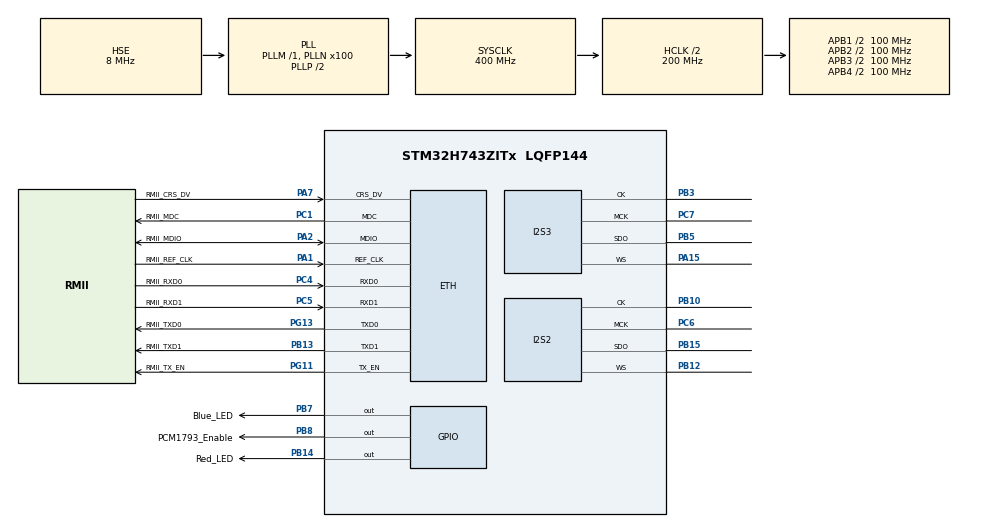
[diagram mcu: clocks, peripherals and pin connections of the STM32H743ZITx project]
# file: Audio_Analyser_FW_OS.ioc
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CORTEX_M7.AccessPermission-Cortex_Memory_Protection_Unit_Region0_Settings=MPU_REGION_FULL_ACCESS
CORTEX_M7.AccessPermission-Cortex_Memory_Protection_Unit_Region1_Settings=MPU_REGION_FULL_ACCESS
CORTEX_M7.BaseAddress-Cortex_Memory_Protection_Unit_Region0_Settings=0x30040000
CORTEX_M7.BaseAddress-Cortex_Memory_Protection_Unit_Region1_Settings=0x30040000
CORTEX_M7.CPU_DCache=Enabled
CORTEX_M7.CPU_ICache=Enabled
CORTEX_M7.DisableExec-Cortex_Memory_Protection_Unit_Region0_Settings=MPU_INSTRUCTION_ACCESS_DISABLE
CORTEX_M7.DisableExec-Cortex_Memory_Protection_Unit_Region1_Settings=MPU_INSTRUCTION_ACCESS_DISABLE
CORTEX_M7.Enable-Cortex_Memory_Protection_Unit_Region0_Settings=MPU_REGION_ENABLE
CORTEX_M7.Enable-Cortex_Memory_Protection_Unit_Region1_Settings=MPU_REGION_ENABLE
CORTEX_M7.IsBufferable-Cortex_Memory_Protection_Unit_Region0_Settings=MPU_ACCESS_NOT_BUFFERABLE
CORTEX_M7.IsBufferable-Cortex_Memory_Protection_Unit_Region1_Settings=MPU_ACCESS_BUFFERABLE
CORTEX_M7.IsCacheable-Cortex_Memory_Protection_Unit_Region1_Settings=MPU_ACCESS_NOT_CACHEABLE
CORTEX_M7.IsShareable-Cortex_Memory_Protection_Unit_Region1_Settings=MPU_ACCESS_SHAREABLE
CORTEX_M7.MPU_Control=MPU_PRIVILEGED_DEFAULT
CORTEX_M7.Size-Cortex_Memory_Protection_Unit_Region0_Settings=MPU_REGION_SIZE_32KB
CORTEX_M7.Size-Cortex_Memory_Protection_Unit_Region1_Settings=MPU_REGION_SIZE_256B
CORTEX_M7.TypeExtField-Cortex_Memory_Protection_Unit_Region0_Settings=MPU_TEX_LEVEL1
ETH.MediaInterface=HAL_ETH_RMII_MODE
FREERTOS.Tasks01=defaultTask,24,256,StartDefaultTask,Default,NULL,Dynamic,NULL,NULL
I2S2.AudioFreq=I2S_AUDIOFREQ_96K
I2S2.DataFormat=I2S_DATAFORMAT_24B
I2S2.ErrorAudioFreq=0.0 %
I2S2.FullDuplexMode=I2S_MODE_SLAVE_FD
I2S2.Instance=SPI$Index
I2S2.Mode=I2S_MODE_MASTER_RX
I2S2.RealAudioFreq=96.0 KHz
I2S2.VirtualMode=I2S_MODE_MASTER
I2S3.AudioFreq=I2S_AUDIOFREQ_96K
I2S3.Data24BitAlignment=I2S_DATA_24BIT_ALIGNMENT_RIGHT
I2S3.DataFormat=I2S_DATAFORMAT_32B
I2S3.ErrorAudioFreq=0.0 %
I2S3.FifoThreshold=I2S_FIFO_THRESHOLD_08DATA
I2S3.FullDuplexMode=I2S_MODE_SLAVE_FD
I2S3.Instance=SPI$Index
I2S3.RealAudioFreq=96.0 KHz
I2S3.VirtualMode=I2S_MODE_MASTER
LWIP.BSP.number=1
LWIP.CHECKSUM_BY_HARDWARE=1
LWIP.GATEWAY_ADDRESS=192.168.001.001
LWIP.IP_ADDRESS=192.168.001.144
LWIP.LWIP_DHCP=0
LWIP.MEMP_NUM_PBUF=64
LWIP.MEM_SIZE=16360
LWIP.NETMASK_ADDRESS=255.255.255.000
LWIP.PBUF_POOL_BUFSIZE=1460
LWIP.PBUF_POOL_SIZE=64
LWIP.TCP_MSS=1460
LWIP.Version=v2.1.2_Cube
LWIP0.BSP.STBoard=false
LWIP0.BSP.api=BSP_COMPONENT_DRIVER
LWIP0.BSP.component=LAN8742
LWIP0.BSP.i2caddr=0
LWIP0.BSP.instance=LAN8742
LWIP0.BSP.name=Driver_PHY
LWIP0.BSP.solution=LAN8742
Mcu.Family=STM32H7
Mcu.Name=STM32H743ZITx
Mcu.Package=LQFP144
NVIC.ETH_IRQn=true\:7\:0\:true\:false\:true\:true\:true\:true
NVIC.PriorityGroup=NVIC_PRIORITYGROUP_4
NVIC.SPI2_IRQn=true\:6\:0\:true\:false\:true\:true\:true\:true
NVIC.SPI3_IRQn=true\:6\:0\:true\:false\:true\:true\:true\:true
NVIC.TIM6_DAC_IRQn=true\:0\:0\:false\:false\:true\:false\:false\:true
NVIC.TimeBase=TIM6_DAC_IRQn
NVIC.TimeBaseIP=TIM6
PA1.GPIO_Label=RMII_REF_CLK
PA1.GPIO_Speed=GPIO_SPEED_FREQ_VERY_HIGH
PA1.Mode=RMII
PA1.Signal=ETH_REF_CLK
PA15\ (JTDI).GPIO_Speed=GPIO_SPEED_FREQ_HIGH
PA15\ (JTDI).Mode=Half_Duplex_Master
PA15\ (JTDI).Signal=I2S3_WS
PA2.GPIO_Label=RMII_MDIO
PA2.GPIO_Speed=GPIO_SPEED_FREQ_VERY_HIGH
PA2.Mode=RMII
PA2.Signal=ETH_MDIO
PA7.GPIO_Label=RMII_CRS_DV
PA7.GPIO_Speed=GPIO_SPEED_FREQ_VERY_HIGH
PA7.Mode=RMII
PA7.Signal=ETH_CRS_DV
PB10.GPIO_Speed=GPIO_SPEED_FREQ_HIGH
PB10.Mode=Half_Duplex_Master
PB10.Signal=I2S2_CK
PB12.GPIO_Speed=GPIO_SPEED_FREQ_HIGH
PB12.Mode=Half_Duplex_Master
PB12.Signal=I2S2_WS
PB13.GPIO_Label=RMII_TXD1
PB13.GPIO_Speed=GPIO_SPEED_FREQ_VERY_HIGH
PB13.Mode=RMII
PB13.Signal=ETH_TXD1
PB14.GPIO_Label=Red_LED
PB14.Signal=GPIO_Output
PB15.GPIO_Speed=GPIO_SPEED_FREQ_HIGH
PB15.Mode=Half_Duplex_Master
PB15.Signal=I2S2_SDO
PB3\ (JTDO/TRACESWO).GPIO_Speed=GPIO_SPEED_FREQ_HIGH
PB3\ (JTDO/TRACESWO).Mode=Half_Duplex_Master
PB3\ (JTDO/TRACESWO).Signal=I2S3_CK
PB5.GPIO_Speed=GPIO_SPEED_FREQ_HIGH
PB5.Mode=Half_Duplex_Master
PB5.Signal=I2S3_SDO
PB7.GPIO_Label=Blue_LED
PB7.PinState=GPIO_PIN_SET
PB7.Signal=GPIO_Output
PB8.GPIO_Label=PCM1793_Enable
PB8.GPIO_PuPd=GPIO_PULLDOWN
PB8.Signal=GPIO_Output
PC1.GPIO_Label=RMII_MDC
PC1.GPIO_Speed=GPIO_SPEED_FREQ_VERY_HIGH
PC1.Mode=RMII
PC1.Signal=ETH_MDC
PC4.GPIO_Label=RMII_RXD0
PC4.GPIO_Speed=GPIO_SPEED_FREQ_VERY_HIGH
PC4.Mode=RMII
PC4.Signal=ETH_RXD0
PC5.GPIO_Label=RMII_RXD1
PC5.GPIO_Speed=GPIO_SPEED_FREQ_VERY_HIGH
PC5.Mode=RMII
PC5.Signal=ETH_RXD1
PC6.GPIO_Speed=GPIO_SPEED_FREQ_HIGH
PC6.Mode=Master_Clock_Activated
PC6.Signal=I2S2_MCK
PC7.GPIO_Speed=GPIO_SPEED_FREQ_HIGH
PC7.Mode=Master_Clock_Activated
PC7.Signal=I2S3_MCK
PD8.Signal=USART3_TX
PD9.Signal=USART3_RX
PG11.GPIO_Label=RMII_TX_EN
PG11.GPIO_Speed=GPIO_SPEED_FREQ_VERY_HIGH
PG11.Mode=RMII
PG11.Signal=ETH_TX_EN
PG13.GPIO_Label=RMII_TXD0
PG13.GPIO_Speed=GPIO_SPEED_FREQ_VERY_HIGH
PG13.Mode=RMII
PG13.Signal=ETH_TXD0
PH0-OSC_IN\ (PH0).GPIO_Label=MCO
PH0-OSC_IN\ (PH0).Mode=HSE-External-Oscillator
PH0-OSC_IN\ (PH0).Signal=RCC_OSC_IN
PH1-OSC_OUT\ (PH1).Mode=HSE-External-Oscillator
PH1-OSC_OUT\ (PH1).Signal=RCC_OSC_OUT
ProjectManager.HeapSize=0x200
ProjectManager.StackSize=0x400
ProjectManager.TargetToolchain=SW4STM32
RCC.48MHZClocksFreq_Value=24000000
RCC.ADCFreq_Value=122880000
RCC.AHBFreq_Value=216000000
RCC.APB1CLKDivider=RCC_HCLK_DIV4
RCC.APB1Freq_Value=100000000
RCC.APB1TimFreq_Value=108000000
RCC.APB2CLKDivider=RCC_HCLK_DIV2
RCC.APB2Freq_Value=100000000
RCC.APB2TimFreq_Value=216000000
RCC.APB3Freq_Value=100000000
RCC.APB4Freq_Value=100000000
RCC.CortexFreq_Value=400000000
RCC.D1PPRE=RCC_APB3_DIV2
RCC.D2PPRE1=RCC_APB1_DIV2
RCC.D2PPRE2=RCC_APB2_DIV2
RCC.D3PPRE=RCC_APB4_DIV2
RCC.DIVM1=1
RCC.DIVM2=5
RCC.DIVN1=100
RCC.DIVN2=384
RCC.DIVP2=5
RCC.DIVQ1=4
RCC.DIVQ2=5
RCC.HCLKFreq_Value=200000000
RCC.HPRE=RCC_HCLK_DIV2
RCC.HSE_VALUE=8000000
RCC.HSI_VALUE=64000000
RCC.PLLM=25
RCC.PLLMUL=RCC_PLL_MUL9
RCC.PLLN=432
RCC.PLLQ=9
RCC.PLLSourceVirtual=RCC_PLLSOURCE_HSE
RCC.PRESCALERUSB=RCC_USBCLKSOURCE_PLL_DIV1_5
RCC.PWR_Regulator_Voltage_Scale=PWR_REGULATOR_VOLTAGE_SCALE1
RCC.SPI123CLockSelection=RCC_SPI123CLKSOURCE_PLL2
RCC.SYSCLKFreq_VALUE=400000000
RCC.SYSCLKSource=RCC_SYSCLKSOURCE_PLLCLK
RCC.SYSCLKSourceVirtual=RCC_SYSCLKSOURCE_PLLCLK
RCC.USBFreq_Value=200000000
RCC.VCOOutputFreq_Value=432000000
VP_FREERTOS_VS_CMSIS_V2.Mode=CMSIS_V2
VP_LWIP_VS_Enabled.Mode=Enabled
VP_SYS_VS_tim6.Mode=TIM6
board=NUCLEO-H743ZI

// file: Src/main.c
/* USER CODE BEGIN Header */
/**
  ******************************************************************************
  * @file           : main.c
  * @brief          : Main program body
  ******************************************************************************
  * @attention
  *
  * <h2><center>&copy; Copyright (c) 2021 STMicroelectronics.
  * All rights reserved.</center></h2>
  *
  * This software component is licensed by ST under Ultimate Liberty license
  * SLA0044, the "License"; You may not use this file except in compliance with
  * the License. You may obtain a copy of the License at:
  *                             www.st.com/SLA0044
  *
  ******************************************************************************
  */
/* USER CODE END Header */
#include <counters.h>
#include "main.h"
#include "cmsis_os.h"
#include "i2s.h"
#include "lwip.h"
#include "gpio.h"

/* USER CODE BEGIN Includes */
//#include "dioa.h"
//#include "log.h"
//#include "uart.h"
//#include "rmi.h"
//#include "pcm1793_dac.h"
//#include "pcm1802_adc.h"
//#include "controller.h"

/* USER CODE END Includes */

void SystemClock_Config(void);
void PeriphCommonClock_Config(void);
static void MPU_Config(void);
void MX_FREERTOS_Init(void);

int main(void)
{

  /* MPU Configuration--------------------------------------------------------*/
  MPU_Config();

  /* Enable I-Cache---------------------------------------------------------*/
  SCB_EnableICache();

  /* Enable D-Cache---------------------------------------------------------*/
  SCB_EnableDCache();

  /* MCU Configuration--------------------------------------------------------*/

  /* Reset of all peripherals, Initializes the Flash interface and the Systick. */
  HAL_Init();

  /* Configure the system clock */
  SystemClock_Config();

/* Configure the peripherals common clocks */
  PeriphCommonClock_Config();

  /* Initialize all configured peripherals */
  MX_GPIO_Init();
  MX_I2S2_Init();
  MX_I2S3_Init();
  /* USER CODE BEGIN 2 */
//  log_init();
//  dioa_init();
//  UART_init();
//  rmi_init();
//  init_counters();
//  pcm1793_dac_init();
//  pcm1802_adc_init();
//  controller_init();
  /* USER CODE END 2 */

  /* Init scheduler */
  osKernelInitialize();  /* Call init function for freertos objects (in freertos.c) */
  MX_FREERTOS_Init();
  /* Start scheduler */
  osKernelStart();

  /* We should never get here as control is now taken by the scheduler */
  /* Infinite loop */
  while (1)
  {

  }
}

void SystemClock_Config(void)
{
  RCC_OscInitTypeDef RCC_OscInitStruct = {0};
  RCC_ClkInitTypeDef RCC_ClkInitStruct = {0};

  /** Supply configuration update enable
  */
  HAL_PWREx_ConfigSupply(PWR_LDO_SUPPLY);
  /** Configure the main internal regulator output voltage
  */
  __HAL_PWR_VOLTAGESCALING_CONFIG(PWR_REGULATOR_VOLTAGE_SCALE1);

  while(!__HAL_PWR_GET_FLAG(PWR_FLAG_VOSRDY)) {}
  /** Macro to configure the PLL clock source
  */
  __HAL_RCC_PLL_PLLSOURCE_CONFIG(RCC_PLLSOURCE_HSE);
  /** Initializes the RCC Oscillators according to the specified parameters
  * in the RCC_OscInitTypeDef structure.
  */
  RCC_OscInitStruct.OscillatorType = RCC_OSCILLATORTYPE_HSE;
  RCC_OscInitStruct.HSEState = RCC_HSE_ON;
  RCC_OscInitStruct.PLL.PLLState = RCC_PLL_ON;
  RCC_OscInitStruct.PLL.PLLSource = RCC_PLLSOURCE_HSE;
  RCC_OscInitStruct.PLL.PLLM = 1;
  RCC_OscInitStruct.PLL.PLLN = 100;
  RCC_OscInitStruct.PLL.PLLP = 2;
  RCC_OscInitStruct.PLL.PLLQ = 4;
  RCC_OscInitStruct.PLL.PLLR = 2;
  RCC_OscInitStruct.PLL.PLLRGE = RCC_PLL1VCIRANGE_3;
  RCC_OscInitStruct.PLL.PLLVCOSEL = RCC_PLL1VCOWIDE;
  RCC_OscInitStruct.PLL.PLLFRACN = 0;
  if (HAL_RCC_OscConfig(&RCC_OscInitStruct) != HAL_OK)
  {
    Error_Handler();
  }
  /** Initializes the CPU, AHB and APB buses clocks
  */
  RCC_ClkInitStruct.ClockType = RCC_CLOCKTYPE_HCLK|RCC_CLOCKTYPE_SYSCLK
                              |RCC_CLOCKTYPE_PCLK1|RCC_CLOCKTYPE_PCLK2
                              |RCC_CLOCKTYPE_D3PCLK1|RCC_CLOCKTYPE_D1PCLK1;
  RCC_ClkInitStruct.SYSCLKSource = RCC_SYSCLKSOURCE_PLLCLK;
  RCC_ClkInitStruct.SYSCLKDivider = RCC_SYSCLK_DIV1;
  RCC_ClkInitStruct.AHBCLKDivider = RCC_HCLK_DIV2;
  RCC_ClkInitStruct.APB3CLKDivider = RCC_APB3_DIV2;
  RCC_ClkInitStruct.APB1CLKDivider = RCC_APB1_DIV2;
  RCC_ClkInitStruct.APB2CLKDivider = RCC_APB2_DIV2;
  RCC_ClkInitStruct.APB4CLKDivider = RCC_APB4_DIV2;

  if (HAL_RCC_ClockConfig(&RCC_ClkInitStruct, FLASH_LATENCY_2) != HAL_OK)
  {
    Error_Handler();
  }
}

void PeriphCommonClock_Config(void)
{
  RCC_PeriphCLKInitTypeDef PeriphClkInitStruct = {0};

  /** Initializes the peripherals clock
  */
  PeriphClkInitStruct.PeriphClockSelection = RCC_PERIPHCLK_SPI3|RCC_PERIPHCLK_SPI2;
  PeriphClkInitStruct.PLL2.PLL2M = 5;
  PeriphClkInitStruct.PLL2.PLL2N = 384;
  PeriphClkInitStruct.PLL2.PLL2P = 5;
  PeriphClkInitStruct.PLL2.PLL2Q = 5;
  PeriphClkInitStruct.PLL2.PLL2R = 2;
  PeriphClkInitStruct.PLL2.PLL2RGE = RCC_PLL2VCIRANGE_0;
  PeriphClkInitStruct.PLL2.PLL2VCOSEL = RCC_PLL2VCOWIDE;
  PeriphClkInitStruct.PLL2.PLL2FRACN = 0;
  PeriphClkInitStruct.Spi123ClockSelection = RCC_SPI123CLKSOURCE_PLL2;
  if (HAL_RCCEx_PeriphCLKConfig(&PeriphClkInitStruct) != HAL_OK)
  {
    Error_Handler();
  }
}

/* MPU Configuration */

void MPU_Config(void)
{
  MPU_Region_InitTypeDef MPU_InitStruct = {0};

  /* Disables the MPU */
  HAL_MPU_Disable();
  /** Initializes and configures the Region and the memory to be protected
  */
  MPU_InitStruct.Enable = MPU_REGION_ENABLE;
  MPU_InitStruct.Number = MPU_REGION_NUMBER0;
  MPU_InitStruct.BaseAddress = 0x30040000;
  MPU_InitStruct.Size = MPU_REGION_SIZE_8KB;
  MPU_InitStruct.SubRegionDisable = 0x0;
  MPU_InitStruct.TypeExtField = MPU_TEX_LEVEL1;
  MPU_InitStruct.AccessPermission = MPU_REGION_FULL_ACCESS;
  MPU_InitStruct.DisableExec = MPU_INSTRUCTION_ACCESS_DISABLE;
  MPU_InitStruct.IsShareable = MPU_ACCESS_NOT_SHAREABLE;
  MPU_InitStruct.IsCacheable = MPU_ACCESS_NOT_CACHEABLE;
  MPU_InitStruct.IsBufferable = MPU_ACCESS_NOT_BUFFERABLE;

  HAL_MPU_ConfigRegion(&MPU_InitStruct);
  /** Initializes and configures the Region and the memory to be protected
  */
  MPU_InitStruct.Number = MPU_REGION_NUMBER1;
  MPU_InitStruct.Size = MPU_REGION_SIZE_256B;
  MPU_InitStruct.TypeExtField = MPU_TEX_LEVEL0;
  MPU_InitStruct.IsShareable = MPU_ACCESS_SHAREABLE;
  MPU_InitStruct.IsBufferable = MPU_ACCESS_BUFFERABLE;

  HAL_MPU_ConfigRegion(&MPU_InitStruct);

    /**Initializes and configures the Region and the memory to be protected
      */
      MPU_InitStruct.Enable = MPU_REGION_ENABLE;
      MPU_InitStruct.Number = MPU_REGION_NUMBER2;
      MPU_InitStruct.BaseAddress = 0x30000000;
      MPU_InitStruct.Size = MPU_REGION_SIZE_2KB;
      MPU_InitStruct.SubRegionDisable = 0x0;
      MPU_InitStruct.TypeExtField = MPU_TEX_LEVEL0;
      MPU_InitStruct.AccessPermission = MPU_REGION_FULL_ACCESS;
      MPU_InitStruct.DisableExec = MPU_INSTRUCTION_ACCESS_DISABLE;
      MPU_InitStruct.IsShareable = MPU_ACCESS_SHAREABLE;
      MPU_InitStruct.IsCacheable = MPU_ACCESS_NOT_CACHEABLE;
      MPU_InitStruct.IsBufferable = MPU_ACCESS_BUFFERABLE;

      HAL_MPU_ConfigRegion(&MPU_InitStruct);

      /**Initializes and configures the Region and the memory to be protected
        */
        MPU_InitStruct.Enable = MPU_REGION_ENABLE;
        MPU_InitStruct.Number = MPU_REGION_NUMBER3;
        MPU_InitStruct.BaseAddress = 0x30000800;
        MPU_InitStruct.Size = MPU_REGION_SIZE_4KB;
        MPU_InitStruct.SubRegionDisable = 0x0;
        MPU_InitStruct.TypeExtField = MPU_TEX_LEVEL0;
        MPU_InitStruct.AccessPermission = MPU_REGION_FULL_ACCESS;
        MPU_InitStruct.DisableExec = MPU_INSTRUCTION_ACCESS_DISABLE;
        MPU_InitStruct.IsShareable = MPU_ACCESS_SHAREABLE;
        MPU_InitStruct.IsCacheable = MPU_ACCESS_NOT_CACHEABLE;
        MPU_InitStruct.IsBufferable = MPU_ACCESS_BUFFERABLE;

        HAL_MPU_ConfigRegion(&MPU_InitStruct);

  /* Enables the MPU */
  HAL_MPU_Enable(MPU_PRIVILEGED_DEFAULT);

}
void HAL_TIM_PeriodElapsedCallback(TIM_HandleTypeDef *htim)
{
  if (htim->Instance == TIM6) {
    HAL_IncTick();
  }
}

void Error_Handler(void)
{
  __disable_irq();
  while (1)
  {
  }
}

/************************ (C) COPYRIGHT STMicroelectronics *****END OF FILE****/

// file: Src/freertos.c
/* USER CODE BEGIN Header */
/**
  ******************************************************************************
  * File Name          : freertos.c
  * Description        : Code for freertos applications
  ******************************************************************************
  * @attention
  *
  * <h2><center>&copy; Copyright (c) 2021 STMicroelectronics.
  * All rights reserved.</center></h2>
  *
  * This software component is licensed by ST under Ultimate Liberty license
  * SLA0044, the "License"; You may not use this file except in compliance with
  * the License. You may obtain a copy of the License at:
  *                             www.st.com/SLA0044
  *
  ******************************************************************************
  */
/* USER CODE END Header */

#include "FreeRTOS.h"
#include "task.h"
#include "main.h"
#include "cmsis_os.h"

/* USER CODE BEGIN Includes */
#include "dioa.h"
#include "log.h"
#include "uart.h"
#include "rmi.h"
#include "pcm1793_dac.h"
#include "pcm1802_adc.h"
#include "controller.h"
/* USER CODE END Includes */

/* Definitions for defaultTask */
osThreadId_t defaultTaskHandle;
const osThreadAttr_t defaultTask_attributes = {
  .name = "defaultTask",
  .stack_size = 256 * 4,
  .priority = (osPriority_t) osPriorityNormal,
};

void StartDefaultTask(void *argument);

extern void MX_LWIP_Init(void);
void MX_FREERTOS_Init(void); /* (MISRA C 2004 rule 8.1) */

void MX_FREERTOS_Init(void) {
  /* USER CODE BEGIN Init */
	  MX_LWIP_Init();
	log_init();
	dioa_init();
	UART_init();
	rmi_init();
	init_counters();
	pcm1793_dac_init();
	pcm1802_adc_init();
	controller_init();
  /* USER CODE END Init */

  /* Create the thread(s) */
  /* creation of defaultTask */
  defaultTaskHandle = osThreadNew(StartDefaultTask, NULL, &defaultTask_attributes);

}

void StartDefaultTask(void *argument)
{
  /* init code for LWIP */
//  MX_LWIP_Init();
  for(;;)
  {
    osDelay(1);
  }
}

/************************ (C) COPYRIGHT STMicroelectronics *****END OF FILE****/
